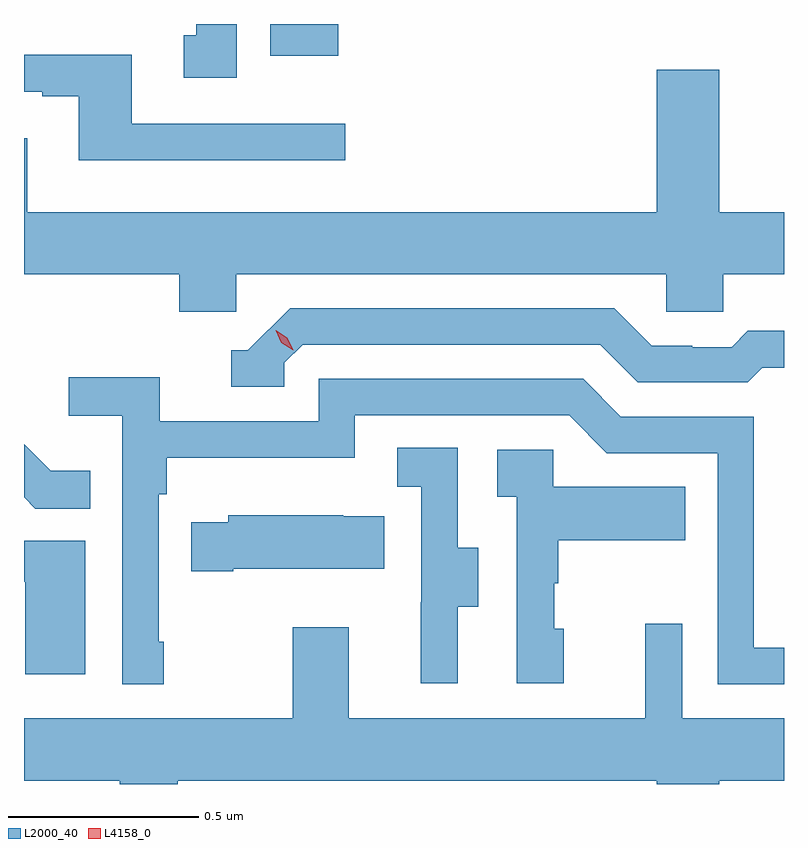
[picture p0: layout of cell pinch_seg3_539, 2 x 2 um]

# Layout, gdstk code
import gdstk
lib = gdstk.Library(unit=1e-6, precision=1e-09)
def R(c, l, rs):  # rectangles x0, y0, x1, y1
    for r in rs: c.add(gdstk.rectangle(r[:2], r[2:], *l))
def P(c, l, *ps):  # polygons
    for p in ps: c.add(gdstk.Polygon(p, *l))
L2000_40 = (2000, 40)
L4158_0 = (4158, 0)

pinch_seg3_539 = lib.new_cell('pinch_seg3_539')
R(pinch_seg3_539, L2000_40, [(1099.055,701.492,1099.234,701.575)])
P(pinch_seg3_539, L2000_40, [(1098.967,701.575),(1098.86,701.575),(1098.86,701.546),(1098.827,701.546),(1098.827,701.433),(1098.967,701.433)],
  [(1099.252,701.313),(1098.691,701.313),(1098.691,701.494),(1098.407,701.494),(1098.407,701.397),(1098.455,701.397),(1098.455,701.385),(1098.551,701.385),(1098.551,701.216),(1099.252,701.216)],
  [(1098.966,700.916),(1100.097,700.916),(1100.097,700.818),(1100.247,700.818),(1100.247,700.916),(1100.407,700.916),(1100.407,701.08),(1100.236,701.08),(1100.236,701.455),(1100.072,701.455),(1100.072,701.08),(1098.415,701.08),(1098.415,701.275),(1098.407,701.275),(1098.407,700.916),(1098.815,700.916),(1098.815,700.818),(1098.966,700.818)],
  [(1099.092,700.683),(1099.14,700.731),(1099.923,700.731),(1100.022,700.632),(1100.311,700.632),(1100.35,700.671),(1100.407,700.671),(1100.407,700.768),(1100.311,700.768),(1100.269,700.725),(1100.166,700.725),(1100.166,700.728),(1100.059,700.728),(1099.96,700.827),(1099.107,700.827),(1098.996,700.716),(1098.953,700.716),(1098.953,700.62),(1099.092,700.62)],
  [(1098.775,699.949),(1098.762,699.949),(1098.762,700.337),(1098.782,700.337),(1098.782,700.433),(1099.278,700.433),(1099.278,700.545),(1099.842,700.545),(1099.941,700.446),(1100.232,700.446),(1100.232,699.837),(1100.407,699.837),(1100.407,699.933),(1100.328,699.933),(1100.328,700.542),(1099.978,700.542),(1099.879,700.641),(1099.182,700.641),(1099.182,700.53),(1098.764,700.53),(1098.764,700.646),(1098.525,700.646),(1098.525,700.544),(1098.666,700.544),(1098.666,699.837),(1098.775,699.837)],
  [(1098.581,700.399),(1098.477,700.399),(1098.407,700.469),(1098.407,700.33),(1098.437,700.3),(1098.581,700.3)],
  [(1099.549,700.042),(1099.603,700.042),(1099.603,700.197),(1099.548,700.197),(1099.548,700.46),(1099.389,700.46),(1099.389,700.357),(1099.452,700.357),(1099.452,700.053),(1099.451,700.053),(1099.451,699.84),(1099.549,699.84)],
  [(1099.828,699.984),(1099.803,699.984),(1099.803,700.103),(1099.813,700.103),(1099.813,700.217),(1100.147,700.217),(1100.147,700.357),(1099.8,700.357),(1099.8,700.455),(1099.653,700.455),(1099.653,700.331),(1099.704,700.331),(1099.704,699.84),(1099.828,699.84)],
  [(1098.958,700.142),(1099.355,700.142),(1099.355,700.279),(1099.247,700.279),(1099.247,700.282),(1098.945,700.282),(1098.945,700.264),(1098.847,700.264),(1098.847,700.135),(1098.958,700.135)],
  [(1098.568,700.215),(1098.407,700.215),(1098.407,700.107),(1098.41,700.107),(1098.41,699.864),(1098.568,699.864)],
  [(1098.812,699.584),(1100.072,699.584),(1100.072,699.575),(1100.236,699.575),(1100.236,699.584),(1100.407,699.584),(1100.407,699.748),(1100.139,699.748),(1100.139,699.997),(1100.042,699.997),(1100.042,699.748),(1099.261,699.748),(1099.261,699.988),(1099.114,699.988),(1099.114,699.748),(1098.407,699.748),(1098.407,699.584),(1098.659,699.584),(1098.659,699.575),(1098.812,699.575)])
P(pinch_seg3_539, L4158_0, [(1099.115,700.716),(1099.084,700.736),(1099.069,700.769),(1099.069,700.769),(1099.069,700.769),(1099.1,700.749),(1099.115,700.716),(1099.115,700.716)])

lib.write_gds('pinch_seg3_539.gds')
